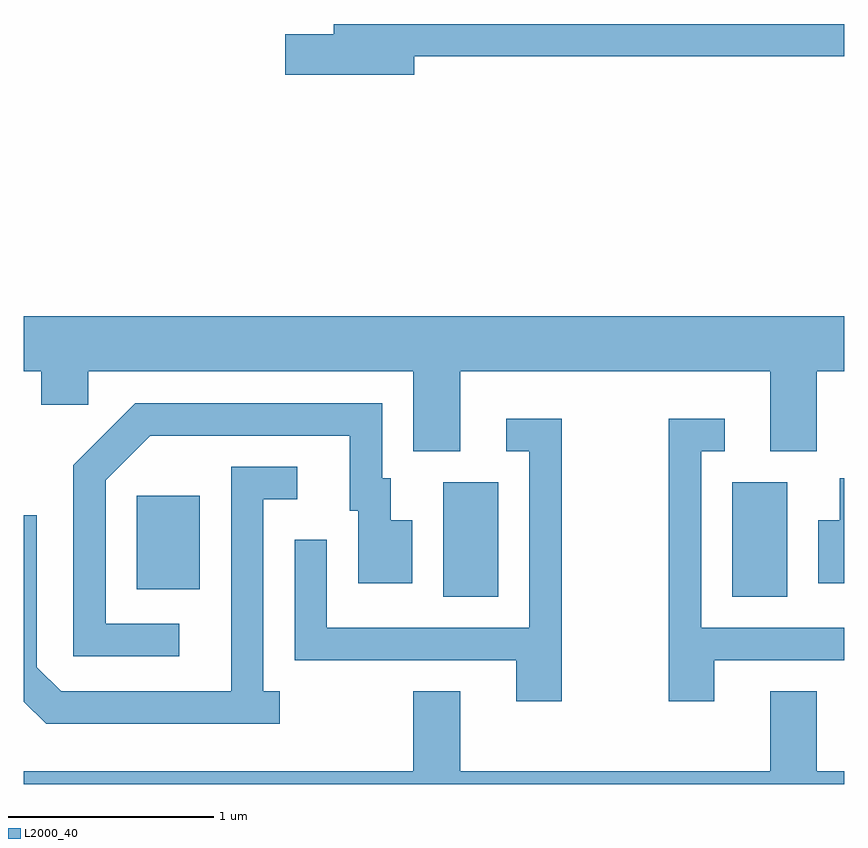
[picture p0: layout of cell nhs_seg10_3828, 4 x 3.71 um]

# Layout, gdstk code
import gdstk
lib = gdstk.Library(unit=1e-6, precision=1e-09)
def R(c, l, rs):  # rectangles x0, y0, x1, y1
    for r in rs: c.add(gdstk.rectangle(r[:2], r[2:], *l))
def P(c, l, *ps):  # polygons
    for p in ps: c.add(gdstk.Polygon(p, *l))
L2000_40 = (2000, 40)

nhs_seg10_3828 = lib.new_cell('nhs_seg10_3828')
R(nhs_seg10_3828, L2000_40, [(299.656,2159.436,299.924,2159.994), (301.066,2159.436,301.334,2159.994), (298.161,2159.471,298.469,2159.929)])
P(nhs_seg10_3828, L2000_40, [(299.514,2162.071),(301.611,2162.071),(301.611,2162.229),(299.121,2162.229),(299.121,2162.179),(298.886,2162.179),(298.886,2161.981),(299.514,2161.981)],
  [(299.739,2160.536),(301.251,2160.536),(301.251,2160.146),(301.479,2160.146),(301.479,2160.536),(301.611,2160.536),(301.611,2160.804),(297.611,2160.804),(297.611,2160.536),(297.696,2160.536),(297.696,2160.371),(297.924,2160.371),(297.924,2160.536),(299.511,2160.536),(299.511,2160.146),(299.739,2160.146)],
  [(298.368,2159.304),(298.009,2159.304),(298.009,2160.004),(298.227,2160.221),(299.201,2160.221),(299.201,2159.856),(299.241,2159.856),(299.241,2159.501),(299.504,2159.501),(299.504,2159.809),(299.399,2159.809),(299.399,2160.014),(299.359,2160.014),(299.359,2160.379),(298.154,2160.379),(297.851,2160.077),(297.851,2159.146),(298.368,2159.146)],
  [(300.234,2160.304),(299.963,2160.304),(299.963,2160.146),(300.076,2160.146),(300.076,2159.284),(299.089,2159.284),(299.089,2159.713),(298.931,2159.713),(298.931,2159.126),(300.011,2159.126),(300.011,2158.926),(300.234,2158.926)],
  [(300.979,2159.126),(301.611,2159.126),(301.611,2159.284),(300.914,2159.284),(300.914,2160.146),(301.028,2160.146),(301.028,2160.304),(300.756,2160.304),(300.756,2158.926),(300.979,2158.926)],
  [(298.858,2158.974),(298.779,2158.974),(298.779,2159.911),(298.943,2159.911),(298.943,2160.069),(298.621,2160.069),(298.621,2158.974),(297.792,2158.974),(297.674,2159.092),(297.674,2159.833),(297.611,2159.833),(297.611,2158.924),(297.719,2158.816),(298.858,2158.816)],
  [(301.611,2160.014),(301.591,2160.014),(301.591,2159.809),(301.486,2159.809),(301.486,2159.501),(301.611,2159.501)],
  [(301.611,2158.584),(301.479,2158.584),(301.479,2158.974),(301.251,2158.974),(301.251,2158.584),(299.739,2158.584),(299.739,2158.974),(299.511,2158.974),(299.511,2158.584),(297.611,2158.584),(297.611,2158.522),(301.611,2158.522)])

lib.write_gds('nhs_seg10_3828.gds')
